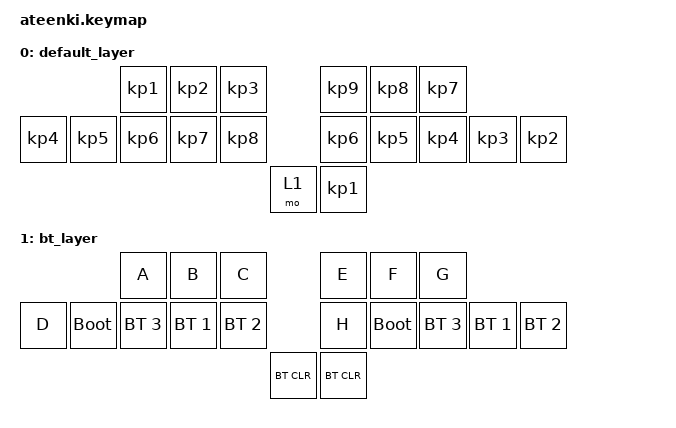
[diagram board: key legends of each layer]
#include <behaviors.dtsi>
#include <dt-bindings/zmk/keys.h>
#include <dt-bindings/zmk/bt.h>


	//			    00	01	02			11	10	09
	//		03  04	05	06	07			16	15	14	13  12
	//						    08	17	

/ {
    keymap {
        compatible = "zmk,keymap";

        default_layer {
            bindings = <
                                    &kp KP_N1   &kp KP_N2   &kp KP_N3                   &kp KP_N9   &kp KP_N8   &kp KP_N7
            &kp KP_N4   &kp KP_N5   &kp KP_N6   &kp KP_N7   &kp KP_N8                   &kp KP_N6   &kp KP_N5   &kp KP_N4   &kp KP_N3   &kp KP_N2
                                                                        &mo 1   &kp KP_N1 
            >;
        };

        bt_layer {
            bindings = <
                                  &kp A          &kp B          &kp C                                       &kp E   &kp F          &kp G
            &kp D   &bootloader   &bt BT_SEL 3   &bt BT_SEL 1   &bt BT_SEL 2                                &kp H   &bootloader   &bt BT_SEL 3   &bt BT_SEL 1   &bt BT_SEL 2
                                                                                &bt BT_CLR      &bt BT_CLR
            >;
        };
    };
};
